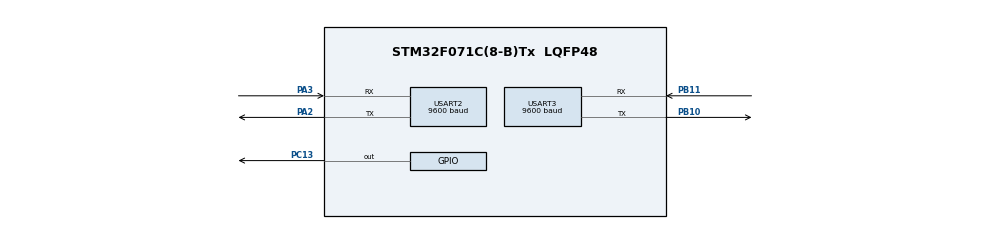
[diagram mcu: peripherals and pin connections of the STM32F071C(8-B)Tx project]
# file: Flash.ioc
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Mcu.Family=STM32F0
Mcu.Name=STM32F071C(8-B)Tx
Mcu.Package=LQFP48
NVIC.TIM2_IRQn=true\:0\:0\:false\:false\:true\:true\:true\:true
NVIC.USART2_IRQn=true\:0\:0\:false\:false\:true\:true\:true\:true
NVIC.USART3_4_IRQn=true\:0\:0\:false\:false\:true\:true\:true\:true
PA2.Mode=Asynchronous
PA2.Signal=USART2_TX
PA3.Mode=Asynchronous
PA3.Signal=USART2_RX
PB10.Mode=Asynchronous
PB10.Signal=USART3_TX
PB11.Mode=Asynchronous
PB11.Signal=USART3_RX
PC13.Signal=GPIO_Output
ProjectManager.HeapSize=0x200
ProjectManager.StackSize=0x400
ProjectManager.TargetToolchain=STM32CubeIDE
TIM2.Period=999
TIM2.Prescaler=7999
USART2.BaudRate=9600
USART2.VirtualMode-Asynchronous=VM_ASYNC
USART3.BaudRate=9600
USART3.VirtualMode-Asynchronous=VM_ASYNC
VP_TIM2_VS_ClockSourceINT.Mode=Internal
board=custom

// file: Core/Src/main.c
/* USER CODE BEGIN Header */
/**
 ******************************************************************************
 * @file           : main.c
 * @brief          : Main program body
 ******************************************************************************
 * @attention
 *
 * Copyright (c) 2025 STMicroelectronics.
 * All rights reserved.
 *
 * This software is licensed under terms that can be found in the LICENSE file
 * in the root directory of this software component.
 * If no LICENSE file comes with this software, it is provided AS-IS.
 *
 ******************************************************************************
 */
/* USER CODE END Header */
#include "main.h"

TIM_HandleTypeDef htim2;

UART_HandleTypeDef huart2;
UART_HandleTypeDef huart3;

void SystemClock_Config(void);
static void MX_GPIO_Init(void);
static void MX_USART2_UART_Init(void);
static void MX_TIM2_Init(void);
static void MX_USART3_UART_Init(void);
/* USER CODE BEGIN PFP */
AM1002_Data_t multiDataread(void);
/* USER CODE END PFP */

/* USER CODE BEGIN 0 */
// void HAL_TIM_PeriodElapsedCallback(TIM_HandleTypeDef *htim)
// {
//   if(htim->Instance == TIM2)
//   {
//     HAL_GPIO_TogglePin(GPIOC, GPIO_PIN_13);
//   }
// }

/* USER CODE END 0 */

int main(void)
{

  /* USER CODE BEGIN 1 */
  AM1002_Data_t ProcessAM1002Data(uint8_t *data, AM1002_Data_t *result)
  {

    // 실제 데이터는 시작 바이트(16 13 16) 이후부터 시작
    uint8_t *actual_data = data + 3;
    result->tvoc = (uint16_t)(actual_data[0] << 8 | actual_data[1]);
    result->pm1_0 = (uint16_t)(actual_data[4] << 8 | actual_data[5]);
    result->pm2_5 = (uint16_t)(actual_data[6] << 8 | actual_data[7]);
    result->pm10 = (uint16_t)(actual_data[8] << 8 | actual_data[9]);

    // 온도 계산 (DF11 DF12) ((DF11*256^1 + DF12)-500）/ 10
    uint16_t temp_raw = (uint16_t)(actual_data[10] << 8 | actual_data[11]);
    result->temperature = (int16_t)(temp_raw - 500); // 10배 값을 저장

    // 습도 계산 (DF13 DF14) ((DF13*256^1 + DF14))
    result->humidity = (uint16_t)(actual_data[12] << 8 | actual_data[13]); // 10배 값을 저장

    return *result;
  }

  void PrintAM1002Data(UART_HandleTypeDef * huart, AM1002_Data_t * data)
  {
    char buffer[32];

    sprintf(buffer, "TVOC: %d ppb\r\n", data->tvoc);
    HAL_UART_Transmit(huart, (uint8_t *)buffer, strlen(buffer), HAL_MAX_DELAY);

    sprintf(buffer, "PM1.0: %d ug/m3\r\n", data->pm1_0);
    HAL_UART_Transmit(huart, (uint8_t *)buffer, strlen(buffer), HAL_MAX_DELAY);

    sprintf(buffer, "PM2.5: %d ug/m3\r\n", data->pm2_5);
    HAL_UART_Transmit(huart, (uint8_t *)buffer, strlen(buffer), HAL_MAX_DELAY);

    sprintf(buffer, "PM10: %d ug/m3\r\n", data->pm10);
    HAL_UART_Transmit(huart, (uint8_t *)buffer, strlen(buffer), HAL_MAX_DELAY);

    // 온도는 10배 값이므로 정수부와 소수부를 분리하여 출력
    sprintf(buffer, "Temperature: %d.%d C\r\n", data->temperature / 10, abs(data->temperature % 10));
    HAL_UART_Transmit(huart, (uint8_t *)buffer, strlen(buffer), HAL_MAX_DELAY);

    // 습도는 10배 값이므로 정수부와 소수부를 분리하여 출력
    sprintf(buffer, "Humidity: %d.%d %%\r\n", data->humidity / 10, data->humidity % 10);
    HAL_UART_Transmit(huart, (uint8_t *)buffer, strlen(buffer), HAL_MAX_DELAY);

    HAL_UART_Transmit(huart, (uint8_t *)"\r\n", 2, HAL_MAX_DELAY);
  }

  AM1002_Data_t ProcessAndPrintAM1002(UART_HandleTypeDef * huart, uint8_t *rx_buffer)
  {
    AM1002_Data_t sensorData;
    AM1002_Data_t result = ProcessAM1002Data(rx_buffer, &sensorData);
#ifdef terminal_mode
    PrintAM1002Data(huart, &sensorData);
#endif

    return result;
  }
  /* USER CODE END 1 */

  /* MCU Configuration--------------------------------------------------------*/

  /* Reset of all peripherals, Initializes the Flash interface and the Systick. */
  HAL_Init();

  /* Configure the system clock */
  SystemClock_Config();

  /* Initialize all configured peripherals */
  MX_GPIO_Init();
  MX_USART2_UART_Init();
  MX_TIM2_Init();
  MX_USART3_UART_Init();
  /* USER CODE BEGIN 2 */
  HAL_TIM_Base_Start_IT(&htim2);

  uint8_t rx_data;
  uint8_t cmd[] = {0x11, 0x01, 0x16, 0xD8};
  uint8_t rx_buffer[32];

  int count = 0;
  uint8_t test = 0x00;
  uint8_t *arr_test = &test;
  uint8_t data;

  uint8_t request[] = {0x01, 0x03, 0x00, 0x00, 0x00, 0x06, 0xC5, 0xCD};
  /* USER CODE END 2 */

  /* Infinite loop */
  while (1)
  {

    /* USER CODE BEGIN 3 */
    if (g_timer_ms_1000 == ENABLE)
    {
      g_timer_ms_1000 = DISABLE;

      handle_am1002();

#if 0
      // AM1002_Data_t read_data = multiDataread(); // 임시 변수 사용
      memset(rx_buffer, 0, sizeof(rx_buffer));

      // PrintCalibrationData(read_data);
      // HAL_UART_Transmit(&huart3, (uint8_t *)"Data read done\r\n", 16, HAL_MAX_DELAY);

      HAL_UART_Transmit(&huart2, cmd, sizeof(cmd), 1000);
      HAL_StatusTypeDef status = HAL_UART_Receive(&huart2, rx_buffer, 22, 1000);

      HAL_UART_Receive(&huart3, request, sizeof(request), 1000);
      // HAL_UART_Transmit(&huart3, request, sizeof(request), 100);
      HAL_GPIO_TogglePin(GPIOC, GPIO_PIN_13);

      if (request[0] == 0x01)
      {
        AM1002_Data_t read_data = multiDataread();

        uint8_t response1[] = {0x01, 0x03, 0x0C,
                               (uint8_t)(read_data.tvoc >> 8), (uint8_t)(read_data.tvoc & 0xFF),               // TVOC
                               (uint8_t)(read_data.pm1_0 >> 8), (uint8_t)(read_data.pm1_0 & 0xFF),             // PM1.0
                               (uint8_t)(read_data.pm2_5 >> 8), (uint8_t)(read_data.pm2_5 & 0xFF),             // PM2.5
                               (uint8_t)(read_data.pm10 >> 8), (uint8_t)(read_data.pm10 & 0xFF),               // PM10
                               (uint8_t)(read_data.humidity >> 8), (uint8_t)(read_data.humidity & 0xFF),       // Temperature
                               (uint8_t)(read_data.temperature >> 8), (uint8_t)(read_data.temperature & 0xFF), // Humidity
                               0x00, 0x00};
        uint16_t crc = ModBus_CRC16(response1, sizeof(response1) - 2);
        response1[sizeof(response1) - 2] = crc & 0xFF;        // CRC Low
        response1[sizeof(response1) - 1] = (crc >> 8) & 0xFF; // CRC High

        HAL_UART_Transmit(&huart3, &response1, sizeof(response1), 100);
      }

#if 1
      if (request[0] == 0x02)
      {
        AM1002_Data_t write_data = ProcessAndPrintAM1002(&huart3, rx_buffer);
        multiDatawrite(write_data);

        uint8_t response[] = {0x02, 0x03, 0x0C,
                              (uint8_t)(write_data.tvoc >> 8), (uint8_t)(write_data.tvoc & 0xFF),               // TVOC
                              (uint8_t)(write_data.pm1_0 >> 8), (uint8_t)(write_data.pm1_0 & 0xFF),             // PM1.0
                              (uint8_t)(write_data.pm2_5 >> 8), (uint8_t)(write_data.pm2_5 & 0xFF),             // PM2.5
                              (uint8_t)(write_data.pm10 >> 8), (uint8_t)(write_data.pm10 & 0xFF),               // PM10
                              (uint8_t)(write_data.humidity >> 8), (uint8_t)(write_data.humidity & 0xFF),       // Temperature
                              (uint8_t)(write_data.temperature >> 8), (uint8_t)(write_data.temperature & 0xFF), // Humidity
                              0xB4, 0x27};
        uint16_t crc = ModBus_CRC16(response, sizeof(response) - 2);
        response[sizeof(response) - 2] = crc & 0xFF;        // CRC Low
        response[sizeof(response) - 1] = (crc >> 8) & 0xFF; // CRC High

        HAL_UART_Transmit(&huart3, &response, sizeof(response), 100);
      }
#endif

      if (status == HAL_OK && request[0] == 0x03)
      {

        // char debug[100];
        // sprintf(debug, "Raw Data: ");
        // HAL_UART_Transmit(&huart3, (uint8_t *)debug, strlen(debug), HAL_MAX_DELAY);

        // memset(debug, 0, sizeof(debug));
        // for (int i = 0; i < 22; i++)
        // {
        //   sprintf(debug, "%02X ", rx_buffer[i]);
        //   HAL_UART_Transmit(&huart3, (uint8_t *)debug, strlen(debug), HAL_MAX_DELAY);
        // }
        // HAL_UART_Transmit(&huart3, (uint8_t *)"\r\n", 2, HAL_MAX_DELAY);

        if (1)
        {
          AM1002_Data_t current_data = ProcessAndPrintAM1002(&huart3, rx_buffer);

#ifdef terminal_mode
          HAL_UART_Transmit(&huart3, (uint8_t *)"Humidity is low\r\n", 18, HAL_MAX_DELAY);
#endif
          uint8_t response[] = {0x03, 0x03, 0x0C,
                                (uint8_t)(current_data.tvoc >> 8), (uint8_t)(current_data.tvoc & 0xFF),               // TVOC
                                (uint8_t)(current_data.pm1_0 >> 8), (uint8_t)(current_data.pm1_0 & 0xFF),             // PM1.0
                                (uint8_t)(current_data.pm2_5 >> 8), (uint8_t)(current_data.pm2_5 & 0xFF),             // PM2.5
                                (uint8_t)(current_data.pm10 >> 8), (uint8_t)(current_data.pm10 & 0xFF),               // PM10
                                (uint8_t)(current_data.humidity >> 8), (uint8_t)(current_data.humidity & 0xFF),       // Temperature
                                (uint8_t)(current_data.temperature >> 8), (uint8_t)(current_data.temperature & 0xFF), // Humidity
                                0xB4, 0x27};
          uint16_t crc = ModBus_CRC16(response, sizeof(response) - 2);
          response[sizeof(response) - 2] = crc & 0xFF;        // CRC Low
          response[sizeof(response) - 1] = (crc >> 8) & 0xFF; // CRC High

          HAL_UART_Transmit(&huart3, &response, sizeof(response), 100);
          // HAL_UART_Transmit(&huart4, &response, sizeof(response), 100);
        }
        else
        {
#ifdef terminal_mode
          HAL_UART_Transmit(&huart3, (uint8_t *)"Error\r\n", 7, HAL_MAX_DELAY);
#endif
        }
      }
      else
      {
#ifdef terminal_mode
        HAL_UART_Transmit(&huart3, (uint8_t *)"Error\r\n", 7, HAL_MAX_DELAY);
#endif
      }
#endif
    }
  }
  /* USER CODE END 3 */
}

void SystemClock_Config(void)
{
  RCC_OscInitTypeDef RCC_OscInitStruct = {0};
  RCC_ClkInitTypeDef RCC_ClkInitStruct = {0};
  RCC_PeriphCLKInitTypeDef PeriphClkInit = {0};

  /** Initializes the RCC Oscillators according to the specified parameters
   * in the RCC_OscInitTypeDef structure.
   */
  RCC_OscInitStruct.OscillatorType = RCC_OSCILLATORTYPE_HSI;
  RCC_OscInitStruct.HSIState = RCC_HSI_ON;
  RCC_OscInitStruct.HSICalibrationValue = RCC_HSICALIBRATION_DEFAULT;
  RCC_OscInitStruct.PLL.PLLState = RCC_PLL_NONE;
  if (HAL_RCC_OscConfig(&RCC_OscInitStruct) != HAL_OK)
  {
    Error_Handler();
  }

  /** Initializes the CPU, AHB and APB buses clocks
   */
  RCC_ClkInitStruct.ClockType = RCC_CLOCKTYPE_HCLK | RCC_CLOCKTYPE_SYSCLK | RCC_CLOCKTYPE_PCLK1;
  RCC_ClkInitStruct.SYSCLKSource = RCC_SYSCLKSOURCE_HSI;
  RCC_ClkInitStruct.AHBCLKDivider = RCC_SYSCLK_DIV1;
  RCC_ClkInitStruct.APB1CLKDivider = RCC_HCLK_DIV1;

  if (HAL_RCC_ClockConfig(&RCC_ClkInitStruct, FLASH_LATENCY_0) != HAL_OK)
  {
    Error_Handler();
  }
  PeriphClkInit.PeriphClockSelection = RCC_PERIPHCLK_USART2;
  PeriphClkInit.Usart2ClockSelection = RCC_USART2CLKSOURCE_PCLK1;
  if (HAL_RCCEx_PeriphCLKConfig(&PeriphClkInit) != HAL_OK)
  {
    Error_Handler();
  }
}

static void MX_TIM2_Init(void)
{

  TIM_ClockConfigTypeDef sClockSourceConfig = {0};
  TIM_MasterConfigTypeDef sMasterConfig = {0};

  htim2.Instance = TIM2;
  htim2.Init.Prescaler = 7999;
  htim2.Init.CounterMode = TIM_COUNTERMODE_UP;
  htim2.Init.Period = 999;
  htim2.Init.ClockDivision = TIM_CLOCKDIVISION_DIV1;
  htim2.Init.AutoReloadPreload = TIM_AUTORELOAD_PRELOAD_DISABLE;
  if (HAL_TIM_Base_Init(&htim2) != HAL_OK)
  {
    Error_Handler();
  }
  sClockSourceConfig.ClockSource = TIM_CLOCKSOURCE_INTERNAL;
  if (HAL_TIM_ConfigClockSource(&htim2, &sClockSourceConfig) != HAL_OK)
  {
    Error_Handler();
  }
  sMasterConfig.MasterOutputTrigger = TIM_TRGO_RESET;
  sMasterConfig.MasterSlaveMode = TIM_MASTERSLAVEMODE_DISABLE;
  if (HAL_TIMEx_MasterConfigSynchronization(&htim2, &sMasterConfig) != HAL_OK)
  {
    Error_Handler();
  }
  /* USER CODE BEGIN TIM2_Init 2 */
  HAL_NVIC_SetPriority(TIM2_IRQn, 0, 0);
  HAL_NVIC_EnableIRQ(TIM2_IRQn);
  /* USER CODE END TIM2_Init 2 */
}

static void MX_USART2_UART_Init(void)
{

  huart2.Instance = USART2;
  huart2.Init.BaudRate = 9600;
  huart2.Init.WordLength = UART_WORDLENGTH_8B;
  huart2.Init.StopBits = UART_STOPBITS_1;
  huart2.Init.Parity = UART_PARITY_NONE;
  huart2.Init.Mode = UART_MODE_TX_RX;
  huart2.Init.HwFlowCtl = UART_HWCONTROL_NONE;
  huart2.Init.OverSampling = UART_OVERSAMPLING_16;
  huart2.Init.OneBitSampling = UART_ONE_BIT_SAMPLE_DISABLE;
  huart2.AdvancedInit.AdvFeatureInit = UART_ADVFEATURE_NO_INIT;
  if (HAL_UART_Init(&huart2) != HAL_OK)
  {
    Error_Handler();
  }
}

static void MX_USART3_UART_Init(void)
{

  huart3.Instance = USART3;
  huart3.Init.BaudRate = 9600;
  huart3.Init.WordLength = UART_WORDLENGTH_8B;
  huart3.Init.StopBits = UART_STOPBITS_1;
  huart3.Init.Parity = UART_PARITY_NONE;
  huart3.Init.Mode = UART_MODE_TX_RX;
  huart3.Init.HwFlowCtl = UART_HWCONTROL_NONE;
  huart3.Init.OverSampling = UART_OVERSAMPLING_16;
  huart3.Init.OneBitSampling = UART_ONE_BIT_SAMPLE_DISABLE;
  huart3.AdvancedInit.AdvFeatureInit = UART_ADVFEATURE_NO_INIT;
  if (HAL_UART_Init(&huart3) != HAL_OK)
  {
    Error_Handler();
  }
}

static void MX_GPIO_Init(void)
{
  GPIO_InitTypeDef GPIO_InitStruct = {0};

  /* GPIO Ports Clock Enable */
  __HAL_RCC_GPIOC_CLK_ENABLE();
  __HAL_RCC_GPIOA_CLK_ENABLE();
  __HAL_RCC_GPIOB_CLK_ENABLE();

  /*Configure GPIO pin Output Level */
  HAL_GPIO_WritePin(GPIOC, GPIO_PIN_13, GPIO_PIN_RESET);

  /*Configure GPIO pin : PC13 */
  GPIO_InitStruct.Pin = GPIO_PIN_13;
  GPIO_InitStruct.Mode = GPIO_MODE_OUTPUT_PP;
  GPIO_InitStruct.Pull = GPIO_NOPULL;
  GPIO_InitStruct.Speed = GPIO_SPEED_FREQ_LOW;
  HAL_GPIO_Init(GPIOC, &GPIO_InitStruct);

}

void Error_Handler(void)
{
  __disable_irq();
  while (1)
  {
  }
}
